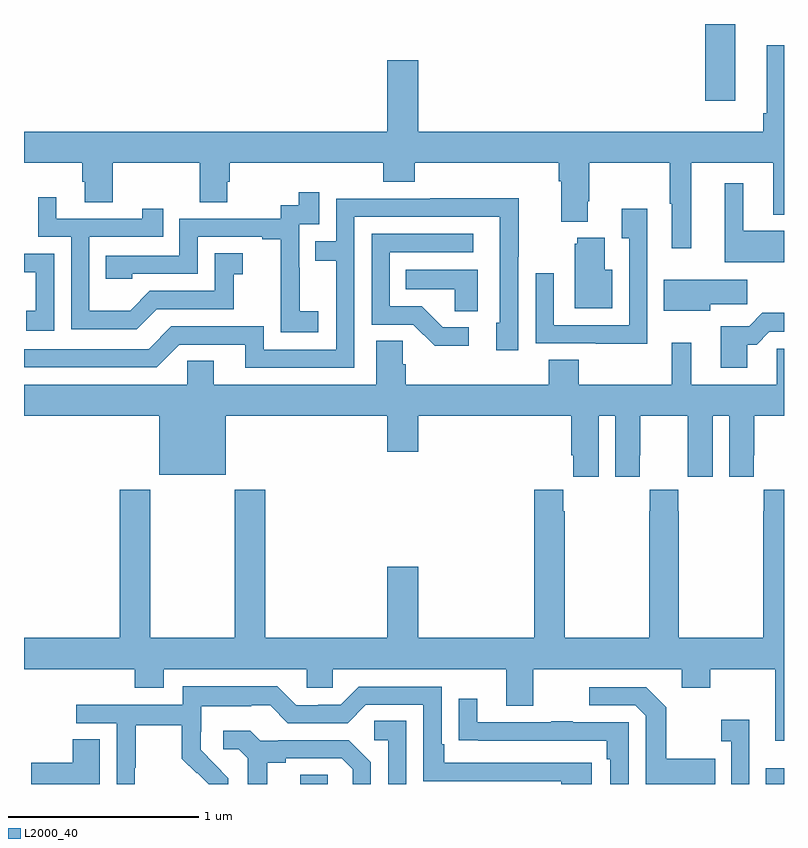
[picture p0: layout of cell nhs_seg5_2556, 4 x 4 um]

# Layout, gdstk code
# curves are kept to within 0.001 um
import gdstk
lib = gdstk.Library(unit=1e-6, precision=1e-09)
def R(c, l, rs):  # rectangles x0, y0, x1, y1
    for r in rs: c.add(gdstk.rectangle(r[:2], r[2:], *l))
def P(c, l, *ps):  # polygons
    for p in ps: c.add(gdstk.Polygon(p, *l))
L2000_40 = (2000, 40)

nhs_seg5_2556 = lib.new_cell('nhs_seg5_2556')
R(nhs_seg5_2556, L2000_40, [(260.453,878.799,260.598,878.849), (262.905,878.799,263,878.881), (262.586,882.396,262.744,882.799)])
P(nhs_seg5_2556, L2000_40, [(262.513,882.068),(262.943,882.068),(262.943,881.795),(263,881.795),(263,882.688),(262.91,882.688),(262.91,882.328),(262.891,882.328),(262.891,882.232),(261.076,882.232),(261.076,882.607),(260.912,882.607),(260.912,882.232),(259,882.232),(259,882.068),(259.307,882.068),(259.307,881.97),(259.319,881.97),(259.319,881.86),(259.467,881.86),(259.467,882.068),(259.924,882.068),(259.924,881.86),(260.071,881.86),(260.071,881.97),(260.084,881.97),(260.084,882.068),(260.891,882.068),(260.891,881.969),(261.056,881.969),(261.056,882.068),(261.815,882.068),(261.815,881.972),(261.827,881.972),(261.827,881.759),(261.967,881.759),(261.967,881.866),(261.975,881.866),(261.975,882.068),(262.399,882.068),(262.399,881.852),(262.409,881.852),(262.409,881.619),(262.513,881.619)],
  [(263,881.71),(262.786,881.71),(262.786,881.962),(262.688,881.962),(262.688,881.546),(263,881.546)],
  [(260.548,881.287),(260.45,881.287),(260.45,881.516),(260.448,881.516),(260.448,881.745),(260.553,881.745),(260.553,881.914),(260.445,881.914),(260.445,881.844),(260.352,881.844),(260.352,881.775),(259.818,881.775),(259.818,881.58),(259.429,881.58),(259.429,881.457),(259.569,881.457),(259.569,881.484),(259.914,881.484),(259.914,881.679),(260.255,881.679),(260.255,881.667),(260.351,881.667),(260.351,881.383),(260.35,881.383),(260.35,881.177),(260.548,881.177)],
  [(259.699,881.298),(260.103,881.298),(260.103,881.483),(260.152,881.483),(260.152,881.593),(260.004,881.593),(260.004,881.394),(259.662,881.394),(259.558,881.29),(259.344,881.29),(259.344,881.679),(259.733,881.679),(259.733,881.827),(259.622,881.827),(259.622,881.775),(259.171,881.775),(259.171,881.887),(259.074,881.887),(259.074,881.679),(259.248,881.679),(259.248,881.193),(259.594,881.193)],
  [(260.739,881.784),(261.504,881.784),(261.504,881.226),(261.485,881.226),(261.485,881.082),(261.6,881.082),(261.6,881.575),(261.603,881.575),(261.603,881.882),(261.139,881.882),(261.139,881.88),(260.643,881.88),(260.643,881.655),(260.533,881.655),(260.533,881.554),(260.643,881.554),(260.643,881.085),(260.262,881.085),(260.262,881.208),(259.776,881.208),(259.656,881.088),(259,881.088),(259,880.992),(259.698,880.992),(259.818,881.112),(260.165,881.112),(260.165,880.989),(260.739,880.989)],
  [(262.281,881.827),(262.145,881.827),(262.145,881.671),(262.185,881.671),(262.185,881.214),(261.789,881.214),(261.789,881.488),(261.693,881.488),(261.693,881.118),(262.009,881.118),(262.009,881.117),(262.281,881.117)],
  [(261.34,881.202),(261.205,881.202),(261.094,881.313),(260.925,881.313),(260.925,881.598),(261.364,881.598),(261.364,881.694),(260.829,881.694),(260.829,881.217),(261.048,881.217),(261.161,881.105),(261.34,881.105)],
  [(262.096,881.506),(262.057,881.506),(262.057,881.674),(261.911,881.674),(261.911,881.643),(261.899,881.643),(261.899,881.303),(262.096,881.303)],
  [(259.158,881.589),(259,881.589),(259,881.493),(259.061,881.493),(259.061,881.289),(259.012,881.289),(259.012,881.184),(259.158,881.184)],
  [(261.388,881.506),(261.01,881.506),(261.01,881.402),(261.267,881.402),(261.267,881.287),(261.388,881.287)],
  [(262.612,881.323),(262.807,881.323),(262.807,881.452),(262.368,881.452),(262.368,881.291),(262.612,881.291)],
  [(262.807,881.111),(262.856,881.111),(262.923,881.178),(263,881.178),(263,881.279),(262.886,881.279),(262.816,881.209),(262.667,881.209),(262.667,880.989),(262.807,880.989)],
  [(262.024,880.736),(262.112,880.736),(262.112,880.416),(262.242,880.416),(262.242,880.528),(262.243,880.528),(262.243,880.736),(262.493,880.736),(262.493,880.528),(262.494,880.528),(262.494,880.416),(262.624,880.416),(262.624,880.736),(262.712,880.736),(262.712,880.416),(262.842,880.416),(262.842,880.528),(262.843,880.528),(262.843,880.736),(263,880.736),(263,881.09),(262.962,881.09),(262.962,880.9),(262.513,880.9),(262.513,881.122),(262.409,881.122),(262.409,880.9),(261.921,880.9),(261.921,881.033),(261.761,881.033),(261.761,880.9),(261.008,880.9),(261.008,881.009),(260.994,881.009),(260.994,881.132),(260.855,881.132),(260.855,880.9),(259.999,880.9),(259.999,881.027),(259.86,881.027),(259.86,880.9),(259,880.9),(259,880.736),(259.712,880.736),(259.712,880.427),(260.062,880.427),(260.062,880.736),(260.912,880.736),(260.912,880.548),(261.076,880.548),(261.076,880.736),(261.881,880.736),(261.881,880.528),(261.89,880.528),(261.89,880.416),(262.024,880.416)],
  [(263,880.348),(262.893,880.348),(262.893,880.235),(262.891,880.235),(262.891,879.568),(262.446,879.568),(262.446,880.235),(262.443,880.235),(262.443,880.348),(262.293,880.348),(262.293,880.235),(262.291,880.235),(262.291,879.568),(261.846,879.568),(261.846,880.235),(261.839,880.235),(261.839,880.348),(261.686,880.348),(261.686,879.568),(261.076,879.568),(261.076,879.943),(260.912,879.943),(260.912,879.568),(260.27,879.568),(260.27,880.348),(260.11,880.348),(260.11,879.568),(259.665,879.568),(259.665,880.348),(259.505,880.348),(259.505,879.568),(259,879.568),(259,879.404),(259.583,879.404),(259.583,879.305),(259.735,879.305),(259.735,879.404),(260.487,879.404),(260.487,879.306),(260.625,879.306),(260.625,879.404),(261.539,879.404),(261.539,879.21),(261.679,879.21),(261.679,879.404),(262.463,879.404),(262.463,879.305),(262.611,879.305),(262.611,879.404),(262.955,879.404),(262.955,879.027),(263,879.027)],
  [(259.584,878.884),(259.587,878.884),(259.587,879.108),(259.831,879.108),(259.831,878.933),(259.908,878.856),(259.911,878.859),(259.972,878.799),(260.076,878.799),(260.076,878.83),(259.93,878.978),(259.93,879.075),(259.932,879.075),(259.932,879.209),(260.195,879.209),(260.195,879.213),(260.295,879.213),(260.388,879.12),(260.703,879.12),(260.799,879.216),(261.102,879.216),(261.102,878.814),(261.827,878.814),(261.827,878.799),(261.988,878.799),(261.988,878.91),(261.211,878.91),(261.211,879.007),(261.198,879.007),(261.198,879.312),(260.763,879.312),(260.667,879.216),(260.549,879.216),(260.549,879.213),(260.433,879.213),(260.333,879.313),(259.836,879.313),(259.836,879.216),(259.275,879.216),(259.275,879.12),(259.488,879.12),(259.488,878.799),(259.584,878.799)],
  [(262.637,878.931),(262.381,878.931),(262.381,879.203),(262.275,879.309),(261.975,879.309),(261.975,879.213),(262.218,879.213),(262.272,879.159),(262.272,878.799),(262.637,878.799)],
  [(262.182,879.123),(261.887,879.123),(261.887,879.128),(261.775,879.128),(261.775,879.123),(261.385,879.123),(261.385,879.247),(261.289,879.247),(261.289,879.028),(261.391,879.028),(261.391,879.027),(262.066,879.027),(262.066,878.93),(262.086,878.93),(262.086,878.799),(262.182,878.799)],
  [(262.818,879.136),(262.671,879.136),(262.671,879.023),(262.722,879.023),(262.722,878.799),(262.818,878.799)],
  [(261.012,879.131),(260.844,879.131),(260.844,879.03),(260.916,879.03),(260.916,878.799),(261.012,878.799)],
  [(260.281,878.912),(260.377,878.912),(260.377,878.934),(260.672,878.934),(260.729,878.877),(260.729,878.799),(260.826,878.799),(260.826,878.914),(260.71,879.03),(260.338,879.03),(260.338,879.027),(260.244,879.027),(260.192,879.079),(260.049,879.079),(260.049,878.982),(260.13,878.982),(260.177,878.935),(260.177,878.799),(260.281,878.799)],
  [(259.399,879.035),(259.256,879.035),(259.256,878.912),(259.038,878.912),(259.038,878.799),(259.399,878.799)])

lib.write_gds('nhs_seg5_2556.gds')
